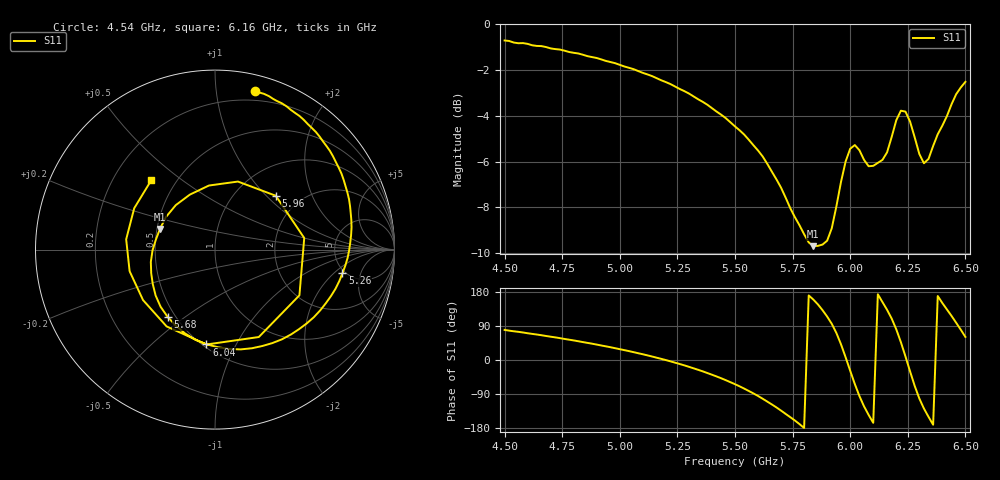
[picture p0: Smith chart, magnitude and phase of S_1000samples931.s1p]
! TOUCHSTONE file generated by CST MICROWAVE STUDIO
! Date and time: Sat Oct 29 20:25:50 2022
! Project name: L.cst
! Parameters = {Di=1.27; Epsilon_r=1.56; InnerDiameter=1.27; Length=2; Lf=10; Lg=60; OuterConductorThickness=0.2921; OuterDiameter=3.6; Wf=3; Wp=41.2; de=1.5; df=6.8; g=0.8; gx=2.33688; gy=2.52798; h=2.34; hf=1.524; px=10.8684; py=13.9261; w=9.7; wx=8.53151; wy=11.3981}
! Header version: 2018
! Port assignment regex: !\s*Touchstone port\s*([0-9]+)\s*=\s*(CST MWS port|CST DS port)\s*([0-9]+|Zmin|Zmax)\s*\(\"(.*)\"\)(\s*mode\s*([0-9]+))?.*
! Touchstone port assignment:
! Touchstone port 1 = CST MWS port 1 ("")
# GHz S DB R 50
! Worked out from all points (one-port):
!   101 points, 4.5 GHz to 6.5 GHz, reference 50 ohm
!   lowest |S11| = -9.7 dB at 5.84 GHz (marker M1), VSWR 1.97, Z = 25.9 + j6.67 ohm
!   |S11| at or under -10 dB: nowhere
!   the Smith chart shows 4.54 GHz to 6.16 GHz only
!   S11 on the Smith chart (normalised r, x): 4.54 GHz: 0.12, +1.28; 5.26 GHz: 4.72, -2.60; 5.68 GHz: 0.45, -0.43; 5.96 GHz: 1.51, +1.14; 6.04 GHz: 0.52, -0.77; 6.16 GHz: 0.36, +0.39
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4.5  -0.71 79.4
4.54  -0.80 75.8
4.76  -1.15 55.6
5  -1.77 28.5
5.26  -2.82 -10.5
5.5  -4.46 -63.9
5.68  -6.78 -125.2
5.76  -8.43 -159.7
5.84  -9.69 159.5
5.92  -8.91 95.4
5.96  -6.89 41.5
5.98  -6.00 7.4
6  -5.43 -28.4
6.02  -5.28 -63.4
6.04  -5.50 -95.1
6.1  -6.18 -165.8
6.16  -5.59 132.5
6.2  -4.19 80.9
6.22  -3.77 47.0
6.24  -3.82 9.1
6.26  -4.25 -30.4
6.28  -4.94 -68.4
6.3  -5.66 -101.5
6.34  -5.88 -150.0
6.38  -4.80 168.9
6.42  -4.00 133.2
6.46  -3.05 98.2
6.5  -2.52 60.9
